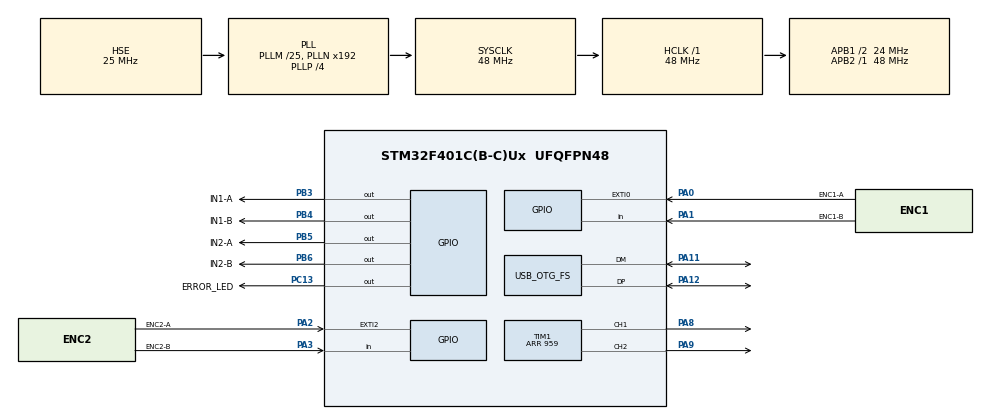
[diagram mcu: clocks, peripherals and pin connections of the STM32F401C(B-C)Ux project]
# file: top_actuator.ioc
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Mcu.Family=STM32F4
Mcu.Name=STM32F401C(B-C)Ux
Mcu.Package=UFQFPN48
NVIC.EXTI0_IRQn=true\:0\:0\:true\:false\:true\:true\:true\:true
NVIC.EXTI2_IRQn=true\:0\:0\:true\:false\:true\:true\:true\:true
NVIC.OTG_FS_IRQn=true\:3\:0\:true\:false\:true\:false\:true\:true
NVIC.PriorityGroup=NVIC_PRIORITYGROUP_4
NVIC.TIM4_IRQn=true\:3\:0\:true\:false\:true\:true\:true\:true
PA0-WKUP.GPIO_Label=ENC1-A
PA0-WKUP.GPIO_ModeDefaultEXTI=GPIO_MODE_IT_RISING_FALLING
PA0-WKUP.GPIO_PuPd=GPIO_NOPULL
PA0-WKUP.Signal=GPXTI0
PA1.GPIO_Label=ENC1-B
PA1.GPIO_PuPd=GPIO_NOPULL
PA1.Signal=GPIO_Input
PA11.Mode=Device_Only
PA11.Signal=USB_OTG_FS_DM
PA12.Mode=Device_Only
PA12.Signal=USB_OTG_FS_DP
PA13.Mode=Serial_Wire
PA13.Signal=SYS_JTMS-SWDIO
PA14.Mode=Serial_Wire
PA14.Signal=SYS_JTCK-SWCLK
PA2.GPIO_Label=ENC2-A
PA2.GPIO_ModeDefaultEXTI=GPIO_MODE_IT_RISING_FALLING
PA2.GPIO_PuPd=GPIO_NOPULL
PA2.Signal=GPXTI2
PA3.GPIO_Label=ENC2-B
PA3.GPIO_PuPd=GPIO_NOPULL
PA3.Signal=GPIO_Input
PA8.Signal=S_TIM1_CH1
PA9.Signal=S_TIM1_CH2
PB3.GPIO_Label=IN1-A
PB3.Signal=GPIO_Output
PB4.GPIO_Label=IN1-B
PB4.Signal=GPIO_Output
PB5.GPIO_Label=IN2-A
PB5.Signal=GPIO_Output
PB6.GPIO_Label=IN2-B
PB6.Signal=GPIO_Output
PC13-ANTI_TAMP.GPIO_Label=ERROR_LED
PC13-ANTI_TAMP.Signal=GPIO_Output
PH0\ -\ OSC_IN.Mode=HSE-External-Oscillator
PH0\ -\ OSC_IN.Signal=RCC_OSC_IN
PH1\ -\ OSC_OUT.Mode=HSE-External-Oscillator
PH1\ -\ OSC_OUT.Signal=RCC_OSC_OUT
ProjectManager.HeapSize=0x200
ProjectManager.StackSize=0x400
ProjectManager.TargetToolchain=STM32CubeIDE
RCC.48MHZClocksFreq_Value=48000000
RCC.AHBFreq_Value=48000000
RCC.APB1CLKDivider=RCC_HCLK_DIV2
RCC.APB1Freq_Value=24000000
RCC.APB1TimFreq_Value=48000000
RCC.APB2Freq_Value=48000000
RCC.APB2TimFreq_Value=48000000
RCC.CortexFreq_Value=48000000
RCC.HCLKFreq_Value=48000000
RCC.HSE_VALUE=25000000
RCC.HSI_VALUE=16000000
RCC.LSE_VALUE=32768
RCC.PLLM=25
RCC.PLLP=RCC_PLLP_DIV4
RCC.SYSCLKFreq_VALUE=48000000
RCC.SYSCLKSource=RCC_SYSCLKSOURCE_PLLCLK
RCC.VCOOutputFreq_Value=192000000
SH.S_TIM1_CH1.0=TIM1_CH1,PWM Generation1 CH1
SH.S_TIM1_CH2.0=TIM1_CH2,PWM Generation2 CH2
TIM1.AutoReloadPreload=TIM_AUTORELOAD_PRELOAD_ENABLE
TIM1.Channel-PWM\ Generation1\ CH1=TIM_CHANNEL_1
TIM1.Channel-PWM\ Generation2\ CH2=TIM_CHANNEL_2
TIM1.Period=959
TIM4.AutoReloadPreload=TIM_AUTORELOAD_PRELOAD_ENABLE
TIM4.Period=48000
USB_DEVICE.CLASS_NAME_FS=CDC
USB_DEVICE.VirtualMode=Cdc
USB_DEVICE.VirtualModeFS=Cdc_FS
USB_OTG_FS.VirtualMode=Device_Only
VP_TIM1_VS_ClockSourceINT.Mode=Internal
VP_TIM4_VS_ClockSourceINT.Mode=Internal
VP_USB_DEVICE_VS_USB_DEVICE_CDC_FS.Mode=CDC_FS
board=custom

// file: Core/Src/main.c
/* USER CODE BEGIN Header */
/**
  ******************************************************************************
  * @file           : main.c
  * @brief          : Main program body
  ******************************************************************************
  * @attention
  *
  * Copyright (c) 2023 STMicroelectronics.
  * All rights reserved.
  *
  * This software is licensed under terms that can be found in the LICENSE file
  * in the root directory of this software component.
  * If no LICENSE file comes with this software, it is provided AS-IS.
  *
  ******************************************************************************
  */
/* USER CODE END Header */
#include "main.h"
#include "usb_device.h"

/* USER CODE BEGIN PD */

#define MOTOR_SET_LIMIT_MAX  	32 /* WHAT SHOULD BE THE LIMITS??? */
#define MOTOR_SET_LIMIT_MIN 	-32

#define	BUF_SIZE	8
/* USER CODE END PD */

TIM_HandleTypeDef htim1;
TIM_HandleTypeDef htim4;

/* USER CODE BEGIN PV */
extern char error_code;
uint32_t PID_freq;
int16_t move_x = 0;
int16_t move_y = 0;
extern uint8_t usb_out[32];

float Y_ref = 0;

float Y_curr = 0;

/* Define and initialize the encoder and motor position variables (pulse counters) */
extern float enc1_pos_cm;
extern float enc2_pos_cm;

/* Position set */
extern float mot1_set_pos;
extern float mot2_set_pos;

extern char error_message[BUF_SIZE];

/* USER CODE END PV */

void SystemClock_Config(void);
static void MX_GPIO_Init(void);
static void MX_TIM1_Init(void);
static void MX_TIM4_Init(void);
/* USER CODE BEGIN PFP */
extern uint8_t CDC_Transmit_FS(uint8_t* Buf, uint16_t Len);
extern int8_t CDC_Receive_FS(uint8_t* Buf, uint32_t Len);
/* USER CODE END PFP */

int main(void)
{

  /* MCU Configuration--------------------------------------------------------*/

  /* Reset of all peripherals, Initializes the Flash interface and the Systick. */
  HAL_Init();

  /* Configure the system clock */
  SystemClock_Config();

  /* Initialize all configured peripherals */
  MX_GPIO_Init();
  MX_USB_DEVICE_Init();
  MX_TIM1_Init();
  MX_TIM4_Init();
  /* USER CODE BEGIN 2 */
  // Store the frequency of PID loop
  PID_freq = HAL_RCC_GetSysClockFreq()/htim4.Init.Period;

  HAL_TIM_Base_Start_IT(&htim4);
  HAL_TIM_Base_Start_IT(&htim1);

  HAL_TIM_PWM_Start(&htim1, TIM_CHANNEL_1);
  HAL_TIM_PWM_Start(&htim1, TIM_CHANNEL_2);

  /* USER CODE END 2 */

  /* Infinite loop */
  while (1)
  {

  }
}

void SystemClock_Config(void)
{
  RCC_OscInitTypeDef RCC_OscInitStruct = {0};
  RCC_ClkInitTypeDef RCC_ClkInitStruct = {0};

  /** Configure the main internal regulator output voltage
  */
  __HAL_RCC_PWR_CLK_ENABLE();
  __HAL_PWR_VOLTAGESCALING_CONFIG(PWR_REGULATOR_VOLTAGE_SCALE2);

  /** Initializes the RCC Oscillators according to the specified parameters
  * in the RCC_OscInitTypeDef structure.
  */
  RCC_OscInitStruct.OscillatorType = RCC_OSCILLATORTYPE_HSE;
  RCC_OscInitStruct.HSEState = RCC_HSE_ON;
  RCC_OscInitStruct.PLL.PLLState = RCC_PLL_ON;
  RCC_OscInitStruct.PLL.PLLSource = RCC_PLLSOURCE_HSE;
  RCC_OscInitStruct.PLL.PLLM = 25;
  RCC_OscInitStruct.PLL.PLLN = 192;
  RCC_OscInitStruct.PLL.PLLP = RCC_PLLP_DIV4;
  RCC_OscInitStruct.PLL.PLLQ = 4;
  if (HAL_RCC_OscConfig(&RCC_OscInitStruct) != HAL_OK)
  {
    Error_Handler();
  }

  /** Initializes the CPU, AHB and APB buses clocks
  */
  RCC_ClkInitStruct.ClockType = RCC_CLOCKTYPE_HCLK|RCC_CLOCKTYPE_SYSCLK
                              |RCC_CLOCKTYPE_PCLK1|RCC_CLOCKTYPE_PCLK2;
  RCC_ClkInitStruct.SYSCLKSource = RCC_SYSCLKSOURCE_PLLCLK;
  RCC_ClkInitStruct.AHBCLKDivider = RCC_SYSCLK_DIV1;
  RCC_ClkInitStruct.APB1CLKDivider = RCC_HCLK_DIV2;
  RCC_ClkInitStruct.APB2CLKDivider = RCC_HCLK_DIV1;

  if (HAL_RCC_ClockConfig(&RCC_ClkInitStruct, FLASH_LATENCY_1) != HAL_OK)
  {
    Error_Handler();
  }
}

static void MX_TIM1_Init(void)
{

  TIM_ClockConfigTypeDef sClockSourceConfig = {0};
  TIM_MasterConfigTypeDef sMasterConfig = {0};
  TIM_OC_InitTypeDef sConfigOC = {0};
  TIM_BreakDeadTimeConfigTypeDef sBreakDeadTimeConfig = {0};

  htim1.Instance = TIM1;
  htim1.Init.Prescaler = 0;
  htim1.Init.CounterMode = TIM_COUNTERMODE_UP;
  htim1.Init.Period = 959;
  htim1.Init.ClockDivision = TIM_CLOCKDIVISION_DIV1;
  htim1.Init.RepetitionCounter = 0;
  htim1.Init.AutoReloadPreload = TIM_AUTORELOAD_PRELOAD_ENABLE;
  if (HAL_TIM_Base_Init(&htim1) != HAL_OK)
  {
    Error_Handler();
  }
  sClockSourceConfig.ClockSource = TIM_CLOCKSOURCE_INTERNAL;
  if (HAL_TIM_ConfigClockSource(&htim1, &sClockSourceConfig) != HAL_OK)
  {
    Error_Handler();
  }
  if (HAL_TIM_PWM_Init(&htim1) != HAL_OK)
  {
    Error_Handler();
  }
  sMasterConfig.MasterOutputTrigger = TIM_TRGO_RESET;
  sMasterConfig.MasterSlaveMode = TIM_MASTERSLAVEMODE_DISABLE;
  if (HAL_TIMEx_MasterConfigSynchronization(&htim1, &sMasterConfig) != HAL_OK)
  {
    Error_Handler();
  }
  sConfigOC.OCMode = TIM_OCMODE_PWM1;
  sConfigOC.Pulse = 0;
  sConfigOC.OCPolarity = TIM_OCPOLARITY_HIGH;
  sConfigOC.OCNPolarity = TIM_OCNPOLARITY_HIGH;
  sConfigOC.OCFastMode = TIM_OCFAST_DISABLE;
  sConfigOC.OCIdleState = TIM_OCIDLESTATE_RESET;
  sConfigOC.OCNIdleState = TIM_OCNIDLESTATE_RESET;
  if (HAL_TIM_PWM_ConfigChannel(&htim1, &sConfigOC, TIM_CHANNEL_1) != HAL_OK)
  {
    Error_Handler();
  }
  if (HAL_TIM_PWM_ConfigChannel(&htim1, &sConfigOC, TIM_CHANNEL_2) != HAL_OK)
  {
    Error_Handler();
  }
  sBreakDeadTimeConfig.OffStateRunMode = TIM_OSSR_DISABLE;
  sBreakDeadTimeConfig.OffStateIDLEMode = TIM_OSSI_DISABLE;
  sBreakDeadTimeConfig.LockLevel = TIM_LOCKLEVEL_OFF;
  sBreakDeadTimeConfig.DeadTime = 0;
  sBreakDeadTimeConfig.BreakState = TIM_BREAK_DISABLE;
  sBreakDeadTimeConfig.BreakPolarity = TIM_BREAKPOLARITY_HIGH;
  sBreakDeadTimeConfig.AutomaticOutput = TIM_AUTOMATICOUTPUT_DISABLE;
  if (HAL_TIMEx_ConfigBreakDeadTime(&htim1, &sBreakDeadTimeConfig) != HAL_OK)
  {
    Error_Handler();
  }
  HAL_TIM_MspPostInit(&htim1);

}

static void MX_TIM4_Init(void)
{

  TIM_ClockConfigTypeDef sClockSourceConfig = {0};
  TIM_MasterConfigTypeDef sMasterConfig = {0};

  htim4.Instance = TIM4;
  htim4.Init.Prescaler = 0;
  htim4.Init.CounterMode = TIM_COUNTERMODE_UP;
  htim4.Init.Period = 48000;
  htim4.Init.ClockDivision = TIM_CLOCKDIVISION_DIV1;
  htim4.Init.AutoReloadPreload = TIM_AUTORELOAD_PRELOAD_ENABLE;
  if (HAL_TIM_Base_Init(&htim4) != HAL_OK)
  {
    Error_Handler();
  }
  sClockSourceConfig.ClockSource = TIM_CLOCKSOURCE_INTERNAL;
  if (HAL_TIM_ConfigClockSource(&htim4, &sClockSourceConfig) != HAL_OK)
  {
    Error_Handler();
  }
  sMasterConfig.MasterOutputTrigger = TIM_TRGO_RESET;
  sMasterConfig.MasterSlaveMode = TIM_MASTERSLAVEMODE_DISABLE;
  if (HAL_TIMEx_MasterConfigSynchronization(&htim4, &sMasterConfig) != HAL_OK)
  {
    Error_Handler();
  }

}

static void MX_GPIO_Init(void)
{
  GPIO_InitTypeDef GPIO_InitStruct = {0};

  /* GPIO Ports Clock Enable */
  __HAL_RCC_GPIOC_CLK_ENABLE();
  __HAL_RCC_GPIOH_CLK_ENABLE();
  __HAL_RCC_GPIOA_CLK_ENABLE();
  __HAL_RCC_GPIOB_CLK_ENABLE();

  /*Configure GPIO pin Output Level */
  HAL_GPIO_WritePin(ERROR_LED_GPIO_Port, ERROR_LED_Pin, GPIO_PIN_RESET);

  /*Configure GPIO pin Output Level */
  HAL_GPIO_WritePin(GPIOB, IN1_A_Pin|IN1_B_Pin|IN2_A_Pin|IN2_B_Pin, GPIO_PIN_RESET);

  /*Configure GPIO pin : ERROR_LED_Pin */
  GPIO_InitStruct.Pin = ERROR_LED_Pin;
  GPIO_InitStruct.Mode = GPIO_MODE_OUTPUT_PP;
  GPIO_InitStruct.Pull = GPIO_NOPULL;
  GPIO_InitStruct.Speed = GPIO_SPEED_FREQ_LOW;
  HAL_GPIO_Init(ERROR_LED_GPIO_Port, &GPIO_InitStruct);

  /*Configure GPIO pins : ENC1_A_Pin ENC2_A_Pin */
  GPIO_InitStruct.Pin = ENC1_A_Pin|ENC2_A_Pin;
  GPIO_InitStruct.Mode = GPIO_MODE_IT_RISING_FALLING;
  GPIO_InitStruct.Pull = GPIO_NOPULL;
  HAL_GPIO_Init(GPIOA, &GPIO_InitStruct);

  /*Configure GPIO pins : ENC1_B_Pin ENC2_B_Pin */
  GPIO_InitStruct.Pin = ENC1_B_Pin|ENC2_B_Pin;
  GPIO_InitStruct.Mode = GPIO_MODE_INPUT;
  GPIO_InitStruct.Pull = GPIO_NOPULL;
  HAL_GPIO_Init(GPIOA, &GPIO_InitStruct);

  /*Configure GPIO pins : IN1_A_Pin IN1_B_Pin IN2_A_Pin IN2_B_Pin */
  GPIO_InitStruct.Pin = IN1_A_Pin|IN1_B_Pin|IN2_A_Pin|IN2_B_Pin;
  GPIO_InitStruct.Mode = GPIO_MODE_OUTPUT_PP;
  GPIO_InitStruct.Pull = GPIO_NOPULL;
  GPIO_InitStruct.Speed = GPIO_SPEED_FREQ_LOW;
  HAL_GPIO_Init(GPIOB, &GPIO_InitStruct);

  /* EXTI interrupt init*/
  HAL_NVIC_SetPriority(EXTI0_IRQn, 0, 0);
  HAL_NVIC_EnableIRQ(EXTI0_IRQn);

  HAL_NVIC_SetPriority(EXTI2_IRQn, 0, 0);
  HAL_NVIC_EnableIRQ(EXTI2_IRQn);

}

void Error_Handler(void)
{
  /* USER CODE BEGIN Error_Handler_Debug */
  /* User can add his own implementation to report the HAL error return state */
  __disable_irq();
  while (1)
  {
	  // EYVAH
	  memcpy(&usb_out, &error_message, sizeof(usb_out));
	  CDC_Transmit_FS(usb_out, sizeof(usb_out));
  }
  /* USER CODE END Error_Handler_Debug */
}
